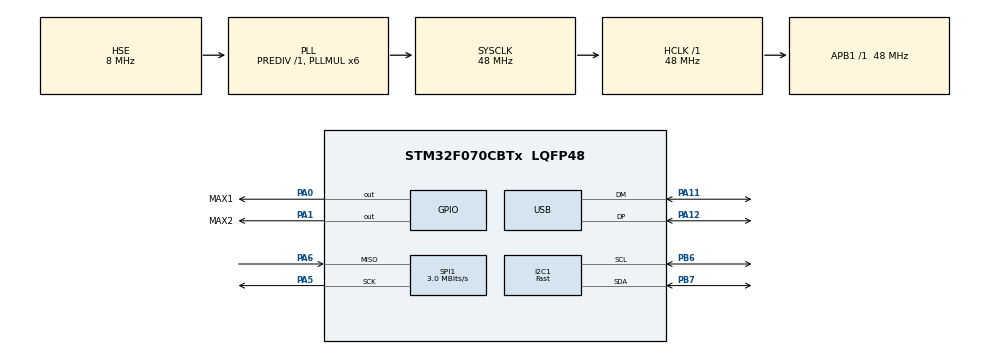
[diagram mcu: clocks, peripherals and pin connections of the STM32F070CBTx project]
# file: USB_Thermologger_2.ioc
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ADC.EnableAnalogWatchDog=false
I2C1.I2C_Speed_Mode=I2C_Fast
I2C1.Timing=0x0000020B
Mcu.Family=STM32F0
Mcu.Name=STM32F070CBTx
Mcu.Package=LQFP48
NVIC.RTC_IRQn=true\:0\:0\:false\:false\:true\:true\:true\:true
NVIC.USB_IRQn=true\:0\:0\:false\:false\:true\:false\:true\:true
PA0.GPIO_Label=MAX1
PA0.Signal=GPIO_Output
PA1.GPIO_Label=MAX2
PA1.Signal=GPIO_Output
PA11.Mode=Device
PA11.Signal=USB_DM
PA12.Mode=Device
PA12.Signal=USB_DP
PA13.Mode=Serial_Wire
PA13.Signal=SYS_SWDIO
PA14.Mode=Serial_Wire
PA14.Signal=SYS_SWCLK
PA5.Mode=RX_Only_Simplex_Unidirect_Master
PA5.Signal=SPI1_SCK
PA6.Mode=RX_Only_Simplex_Unidirect_Master
PA6.Signal=SPI1_MISO
PB6.GPIO_Pu=GPIO_PULLUP
PB6.Mode=I2C
PB6.Signal=I2C1_SCL
PB7.GPIO_Pu=GPIO_PULLUP
PB7.Mode=I2C
PB7.Signal=I2C1_SDA
PC14-OSC32_IN.Mode=LSE-External-Oscillator
PC14-OSC32_IN.Signal=RCC_OSC32_IN
PC15-OSC32_OUT.Mode=LSE-External-Oscillator
PC15-OSC32_OUT.Signal=RCC_OSC32_OUT
PF0-OSC_IN.Mode=HSE-External-Oscillator
PF0-OSC_IN.Signal=RCC_OSC_IN
PF1-OSC_OUT.Mode=HSE-External-Oscillator
PF1-OSC_OUT.Signal=RCC_OSC_OUT
ProjectManager.HeapSize=0x200
ProjectManager.StackSize=0x400
ProjectManager.TargetToolchain=STM32CubeIDE
RCC.AHBFreq_Value=48000000
RCC.APB1Freq_Value=48000000
RCC.APB1TimFreq_Value=48000000
RCC.HCLKFreq_Value=48000000
RCC.PLLMUL=RCC_PLL_MUL6
RCC.RTCClockSelection=RCC_RTCCLKSOURCE_LSE
RCC.SYSCLKFreq_VALUE=48000000
RCC.SYSCLKSource=RCC_SYSCLKSOURCE_PLLCLK
RTC.Alarm-Alarm\ A=RTC_ALARM_A
RTC.AlarmMaskDateWeekDay-Alarm\ A=RTC_ALARMMASK_DATEWEEKDAY
RTC.AlarmMaskHours-Alarm\ A=RTC_ALARMMASK_HOURS
RTC.AlarmMaskMinutes-Alarm\ A=RTC_ALARMMASK_MINUTES
RTC.AlarmMaskSeconds-Alarm\ A=RTC_ALARMMASK_SECONDS
RTC.Seconds_A-Alarm\ A=10
RTC.Year=20
SPI1.BaudRatePrescaler=SPI_BAUDRATEPRESCALER_16
SPI1.CalculateBaudRate=3.0 MBits/s
SPI1.DataSize=SPI_DATASIZE_8BIT
SPI1.Direction=SPI_DIRECTION_2LINES_RXONLY
SPI1.Mode=SPI_MODE_MASTER
SPI1.VirtualType=VM_MASTER
USB_DEVICE.APP_RX_DATA_SIZE=500
USB_DEVICE.APP_TX_DATA_SIZE=500
USB_DEVICE.CLASS_NAME_FS=CDC
USB_DEVICE.PID_CDC_FS=21252
USB_DEVICE.VID=4617
USB_DEVICE.VirtualMode=Cdc
USB_DEVICE.VirtualModeFS=Cdc_FS
VP_ADC_TempSens_Input.Mode=IN-TempSens
VP_RTC_VS_RTC_Activate.Mode=RTC_Enabled
VP_RTC_VS_RTC_Alarm_A_Intern.Mode=Alarm A
VP_RTC_VS_RTC_Calendar.Mode=RTC_Calendar
VP_USB_DEVICE_VS_USB_DEVICE_CDC_FS.Mode=CDC_FS
board=custom

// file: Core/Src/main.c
/* USER CODE BEGIN Header */
/**
  ******************************************************************************
  * @file           : main.c
  * @brief          : Main program body
  ******************************************************************************
  * @attention
  *
  * <h2><center>&copy; Copyright (c) 2020 STMicroelectronics.
  * All rights reserved.</center></h2>
  *
  * This software component is licensed by ST under BSD 3-Clause license,
  * the "License"; You may not use this file except in compliance with the
  * License. You may obtain a copy of the License at:
  *                        opensource.org/licenses/BSD-3-Clause
  *
  ******************************************************************************
  */
/* USER CODE END Header */

#include "main.h"
#include "usb_device.h"

/* USER CODE BEGIN Includes */
#include "usbd_cdc_if.h"

/* USER CODE END Includes */

/* USER CODE BEGIN PD */
#define FW_MANUFACTURER  "Klingler Engineering"
#define FW_MODEL         "TC2"
#define FW_VERSION       "1.0.0"
#define NUM_CHANNELS     2
/* USER CODE END PD */

ADC_HandleTypeDef hadc;

I2C_HandleTypeDef hi2c1;

RTC_HandleTypeDef hrtc;

SPI_HandleTypeDef hspi1;

/* USER CODE BEGIN PV */
uint8_t switchToBootloader __attribute__ ((section (".noinit")));
volatile uint8_t send_usb = 0;
volatile uint32_t interval = 1, int_reload = 1;
uint8_t send_idn = 0;
uint8_t send_channels = 0;
char serial_number[13];
extern USBD_HandleTypeDef hUsbDeviceFS;
static const uint16_t tc_cs_pins[NUM_CHANNELS] = { MAX1_Pin, MAX2_Pin };
/* USER CODE END PV */

void SystemClock_Config(void);
static void MX_GPIO_Init(void);
static void MX_ADC_Init(void);
static void MX_I2C1_Init(void);
static void MX_RTC_Init(void);
static void MX_SPI1_Init(void);
/* USER CODE BEGIN PFP */
static int USB_TxIdle(void);
void USB_TriggerBootloader(void);
void USB_BootloaderInit(void);
static int MAX31855_Read(uint16_t pin, double *temp);/* USER CODE END PFP */
/* USER CODE END PFP */

int main(void)
{
  /* USER CODE BEGIN 1 */
  if(switchToBootloader == 0x11)
	  USB_BootloaderInit();

  /* USER CODE END 1 */

  /* MCU Configuration--------------------------------------------------------*/

  /* Reset of all peripherals, Initializes the Flash interface and the Systick. */
  HAL_Init();

  /* Configure the system clock */
  SystemClock_Config();

  /* Initialize all configured peripherals */
  MX_GPIO_Init();
  MX_ADC_Init();
  MX_I2C1_Init();
  MX_RTC_Init();
  MX_SPI1_Init();
  MX_USB_DEVICE_Init();
  /* USER CODE BEGIN 2 */

  uint32_t length = 0;

  HAL_GPIO_WritePin(GPIOA, MAX1_Pin, 1);
  HAL_GPIO_WritePin(GPIOA, MAX2_Pin, 1);

  char buffer[96];
  uint8_t usbrx[64];

  uint32_t id1 = *(uint32_t *)UID_BASE;
  uint32_t id2 = *(uint32_t *)(UID_BASE + 4);
  uint32_t id3 = *(uint32_t *)(UID_BASE + 8);
  snprintf(serial_number, sizeof serial_number, "%08lX%04lX", id1 + id3, id2 >> 16);

  /* USER CODE END 2 */

  /* Infinite loop */
  while (1)
  {

    /* USER CODE BEGIN 3 */

	  if (USB_TxIdle())
	  {
	  	if (send_idn)
	  	{
	  		int n = snprintf(buffer, sizeof buffer, "%s,%s,%s,%s\r\n",
	  		                 FW_MANUFACTURER, FW_MODEL, serial_number, FW_VERSION);
	  		CDC_Transmit_FS((uint8_t *)buffer, n);
	  		send_idn = 0;
	  	}
	  	else if (send_channels)
	  	{
	  		int n = snprintf(buffer, sizeof buffer, "%d\r\n", NUM_CHANNELS);
	  		CDC_Transmit_FS((uint8_t *)buffer, n);
	  		send_channels = 0;
	  	}
	  	else if (send_usb)
	  	{
	  		int n = 0;
	  		for (int ch = 0; ch < NUM_CHANNELS; ch++)
	  		{
	  			double t;
	  			if (ch > 0)
	  				n += snprintf(buffer + n, sizeof buffer - n, ",");
	  			if (MAX31855_Read(tc_cs_pins[ch], &t))
	  				n += snprintf(buffer + n, sizeof buffer - n, "%.2f", t);
	  			else
	  				n += snprintf(buffer + n, sizeof buffer - n, "-");
	  		}
	  		n += snprintf(buffer + n, sizeof buffer - n, "\r\n");
	  		CDC_Transmit_FS((uint8_t *)buffer, n);
	  		send_usb = 0;
	  	}
	  }

	  if (VCP_retrieveInputData(usbrx,&length)!=0)
  	  {
		  if((length >= 1) && (usbrx[0] != 0))
		  {
			  switch (usbrx[0])
			  {
			  	case 'X':
			  		if ((usbrx[1] == '1') && (usbrx[2] == '7') && (usbrx[3] == '0') && (usbrx[4] == '4'))
			  			USB_TriggerBootloader();
			  		break;

			  	case '?':
			  		send_usb = 1;
			  		break;

			  	case '*':
			  		if ((length >= 5) && (strncmp(usbrx, "*IDN?", 5) == 0))
			  			send_idn = 1;
			  		break;

			  	case 'C':
			  		if ((length >= 2) && (usbrx[1] == '?'))
			  			send_channels = 1;
			  		break;
			  }
		  }
  	  }
  }
  /* USER CODE END 3 */
}

void SystemClock_Config(void)
{
  RCC_OscInitTypeDef RCC_OscInitStruct = {0};
  RCC_ClkInitTypeDef RCC_ClkInitStruct = {0};
  RCC_PeriphCLKInitTypeDef PeriphClkInit = {0};

  /** Configure LSE Drive Capability
  */
  HAL_PWR_EnableBkUpAccess();
  __HAL_RCC_LSEDRIVE_CONFIG(RCC_LSEDRIVE_HIGH);
  /** Initializes the CPU, AHB and APB busses clocks
  */
  RCC_OscInitStruct.OscillatorType = RCC_OSCILLATORTYPE_HSI|RCC_OSCILLATORTYPE_HSI14
                              |RCC_OSCILLATORTYPE_HSE|RCC_OSCILLATORTYPE_LSE;
  RCC_OscInitStruct.HSEState = RCC_HSE_ON;
  RCC_OscInitStruct.LSEState = RCC_LSE_ON;
  RCC_OscInitStruct.HSIState = RCC_HSI_ON;
  RCC_OscInitStruct.HSI14State = RCC_HSI14_ON;
  RCC_OscInitStruct.HSICalibrationValue = RCC_HSICALIBRATION_DEFAULT;
  RCC_OscInitStruct.HSI14CalibrationValue = 16;
  RCC_OscInitStruct.PLL.PLLState = RCC_PLL_ON;
  RCC_OscInitStruct.PLL.PLLSource = RCC_PLLSOURCE_HSE;
  RCC_OscInitStruct.PLL.PLLMUL = RCC_PLL_MUL6;
  RCC_OscInitStruct.PLL.PREDIV = RCC_PREDIV_DIV1;
  if (HAL_RCC_OscConfig(&RCC_OscInitStruct) != HAL_OK)
  {
    Error_Handler();
  }
  /** Initializes the CPU, AHB and APB busses clocks
  */
  RCC_ClkInitStruct.ClockType = RCC_CLOCKTYPE_HCLK|RCC_CLOCKTYPE_SYSCLK
                              |RCC_CLOCKTYPE_PCLK1;
  RCC_ClkInitStruct.SYSCLKSource = RCC_SYSCLKSOURCE_PLLCLK;
  RCC_ClkInitStruct.AHBCLKDivider = RCC_SYSCLK_DIV1;
  RCC_ClkInitStruct.APB1CLKDivider = RCC_HCLK_DIV1;

  if (HAL_RCC_ClockConfig(&RCC_ClkInitStruct, FLASH_LATENCY_1) != HAL_OK)
  {
    Error_Handler();
  }
  PeriphClkInit.PeriphClockSelection = RCC_PERIPHCLK_USB|RCC_PERIPHCLK_I2C1
                              |RCC_PERIPHCLK_RTC;
  PeriphClkInit.I2c1ClockSelection = RCC_I2C1CLKSOURCE_HSI;
  PeriphClkInit.RTCClockSelection = RCC_RTCCLKSOURCE_LSE;
  PeriphClkInit.UsbClockSelection = RCC_USBCLKSOURCE_PLL;

  if (HAL_RCCEx_PeriphCLKConfig(&PeriphClkInit) != HAL_OK)
  {
    Error_Handler();
  }
}

static void MX_ADC_Init(void)
{

  ADC_ChannelConfTypeDef sConfig = {0};

  /** Configure the global features of the ADC (Clock, Resolution, Data Alignment and number of conversion)
  */
  hadc.Instance = ADC1;
  hadc.Init.ClockPrescaler = ADC_CLOCK_ASYNC_DIV1;
  hadc.Init.Resolution = ADC_RESOLUTION_12B;
  hadc.Init.DataAlign = ADC_DATAALIGN_RIGHT;
  hadc.Init.ScanConvMode = ADC_SCAN_DIRECTION_FORWARD;
  hadc.Init.EOCSelection = ADC_EOC_SINGLE_CONV;
  hadc.Init.LowPowerAutoWait = DISABLE;
  hadc.Init.LowPowerAutoPowerOff = DISABLE;
  hadc.Init.ContinuousConvMode = DISABLE;
  hadc.Init.DiscontinuousConvMode = DISABLE;
  hadc.Init.ExternalTrigConv = ADC_SOFTWARE_START;
  hadc.Init.ExternalTrigConvEdge = ADC_EXTERNALTRIGCONVEDGE_NONE;
  hadc.Init.DMAContinuousRequests = DISABLE;
  hadc.Init.Overrun = ADC_OVR_DATA_PRESERVED;
  if (HAL_ADC_Init(&hadc) != HAL_OK)
  {
    Error_Handler();
  }
  /** Configure for the selected ADC regular channel to be converted.
  */
  sConfig.Channel = ADC_CHANNEL_TEMPSENSOR;
  sConfig.Rank = ADC_RANK_CHANNEL_NUMBER;
  sConfig.SamplingTime = ADC_SAMPLETIME_1CYCLE_5;
  if (HAL_ADC_ConfigChannel(&hadc, &sConfig) != HAL_OK)
  {
    Error_Handler();
  }

}

static void MX_I2C1_Init(void)
{

  hi2c1.Instance = I2C1;
  hi2c1.Init.Timing = 0x0000020B;
  hi2c1.Init.OwnAddress1 = 0;
  hi2c1.Init.AddressingMode = I2C_ADDRESSINGMODE_7BIT;
  hi2c1.Init.DualAddressMode = I2C_DUALADDRESS_DISABLE;
  hi2c1.Init.OwnAddress2 = 0;
  hi2c1.Init.OwnAddress2Masks = I2C_OA2_NOMASK;
  hi2c1.Init.GeneralCallMode = I2C_GENERALCALL_DISABLE;
  hi2c1.Init.NoStretchMode = I2C_NOSTRETCH_DISABLE;
  if (HAL_I2C_Init(&hi2c1) != HAL_OK)
  {
    Error_Handler();
  }
  /** Configure Analogue filter
  */
  if (HAL_I2CEx_ConfigAnalogFilter(&hi2c1, I2C_ANALOGFILTER_ENABLE) != HAL_OK)
  {
    Error_Handler();
  }
  /** Configure Digital filter
  */
  if (HAL_I2CEx_ConfigDigitalFilter(&hi2c1, 0) != HAL_OK)
  {
    Error_Handler();
  }

}

static void MX_RTC_Init(void)
{

  RTC_TimeTypeDef sTime = {0};
  RTC_DateTypeDef sDate = {0};
  RTC_AlarmTypeDef sAlarm = {0};

  /** Initialize RTC Only
  */
  hrtc.Instance = RTC;
  hrtc.Init.HourFormat = RTC_HOURFORMAT_24;
  hrtc.Init.AsynchPrediv = 127;
  hrtc.Init.SynchPrediv = 255;
  hrtc.Init.OutPut = RTC_OUTPUT_DISABLE;
  hrtc.Init.OutPutPolarity = RTC_OUTPUT_POLARITY_HIGH;
  hrtc.Init.OutPutType = RTC_OUTPUT_TYPE_OPENDRAIN;
  if (HAL_RTC_Init(&hrtc) != HAL_OK)
  {
    Error_Handler();
  }

  /** Initialize RTC and set the Time and Date
  */
  sTime.Hours = 0x0;
  sTime.Minutes = 0x0;
  sTime.Seconds = 0x0;
  sTime.DayLightSaving = RTC_DAYLIGHTSAVING_NONE;
  sTime.StoreOperation = RTC_STOREOPERATION_RESET;
  if (HAL_RTC_SetTime(&hrtc, &sTime, RTC_FORMAT_BCD) != HAL_OK)
  {
    Error_Handler();
  }
  sDate.WeekDay = RTC_WEEKDAY_MONDAY;
  sDate.Month = RTC_MONTH_JANUARY;
  sDate.Date = 0x1;
  sDate.Year = 0x20;

  if (HAL_RTC_SetDate(&hrtc, &sDate, RTC_FORMAT_BCD) != HAL_OK)
  {
    Error_Handler();
  }
  /** Enable the Alarm A
  */
  sAlarm.AlarmTime.Hours = 0x0;
  sAlarm.AlarmTime.Minutes = 0x0;
  sAlarm.AlarmTime.Seconds = 0x10;
  sAlarm.AlarmTime.SubSeconds = 0x0;
  sAlarm.AlarmTime.DayLightSaving = RTC_DAYLIGHTSAVING_NONE;
  sAlarm.AlarmTime.StoreOperation = RTC_STOREOPERATION_RESET;
  sAlarm.AlarmMask = RTC_ALARMMASK_ALL;
  sAlarm.AlarmSubSecondMask = RTC_ALARMSUBSECONDMASK_ALL;
  sAlarm.AlarmDateWeekDaySel = RTC_ALARMDATEWEEKDAYSEL_DATE;
  sAlarm.AlarmDateWeekDay = 0x1;
  sAlarm.Alarm = RTC_ALARM_A;
  if (HAL_RTC_SetAlarm_IT(&hrtc, &sAlarm, RTC_FORMAT_BCD) != HAL_OK)
  {
    Error_Handler();
  }

}

static void MX_SPI1_Init(void)
{

  /* SPI1 parameter configuration*/
  hspi1.Instance = SPI1;
  hspi1.Init.Mode = SPI_MODE_MASTER;
  hspi1.Init.Direction = SPI_DIRECTION_2LINES_RXONLY;
  hspi1.Init.DataSize = SPI_DATASIZE_8BIT;
  hspi1.Init.CLKPolarity = SPI_POLARITY_LOW;
  hspi1.Init.CLKPhase = SPI_PHASE_1EDGE;
  hspi1.Init.NSS = SPI_NSS_SOFT;
  hspi1.Init.BaudRatePrescaler = SPI_BAUDRATEPRESCALER_16;
  hspi1.Init.FirstBit = SPI_FIRSTBIT_MSB;
  hspi1.Init.TIMode = SPI_TIMODE_DISABLE;
  hspi1.Init.CRCCalculation = SPI_CRCCALCULATION_DISABLE;
  hspi1.Init.CRCPolynomial = 7;
  hspi1.Init.CRCLength = SPI_CRC_LENGTH_DATASIZE;
  hspi1.Init.NSSPMode = SPI_NSS_PULSE_ENABLE;
  if (HAL_SPI_Init(&hspi1) != HAL_OK)
  {
    Error_Handler();
  }

}

static void MX_GPIO_Init(void)
{
  GPIO_InitTypeDef GPIO_InitStruct = {0};

  /* GPIO Ports Clock Enable */
  __HAL_RCC_GPIOC_CLK_ENABLE();
  __HAL_RCC_GPIOF_CLK_ENABLE();
  __HAL_RCC_GPIOA_CLK_ENABLE();
  __HAL_RCC_GPIOB_CLK_ENABLE();

  /*Configure GPIO pin Output Level */
  HAL_GPIO_WritePin(GPIOA, MAX1_Pin|MAX2_Pin, GPIO_PIN_RESET);

  /*Configure GPIO pins : MAX1_Pin MAX2_Pin */
  GPIO_InitStruct.Pin = MAX1_Pin|MAX2_Pin;
  GPIO_InitStruct.Mode = GPIO_MODE_OUTPUT_PP;
  GPIO_InitStruct.Pull = GPIO_NOPULL;
  GPIO_InitStruct.Speed = GPIO_SPEED_FREQ_LOW;
  HAL_GPIO_Init(GPIOA, &GPIO_InitStruct);

}

/* USER CODE BEGIN 4 */
static int USB_TxIdle(void)
{
	USBD_CDC_HandleTypeDef *hcdc = (USBD_CDC_HandleTypeDef *)hUsbDeviceFS.pClassData;
	return (hcdc != NULL) && (hcdc->TxState == 0);
}

static int MAX31855_Read(uint16_t pin, double *temp)
{
	uint8_t d[4];
	HAL_GPIO_WritePin(GPIOA, pin, GPIO_PIN_RESET);
	HAL_StatusTypeDef st = HAL_SPI_Receive(&hspi1, d, 4, 100);
	HAL_GPIO_WritePin(GPIOA, pin, GPIO_PIN_SET);

	if (st != HAL_OK || (d[1] & 0x01))	/* bit 16: fault (open, short GND/VCC) */
		return 0;

	int16_t raw = (int16_t)((d[0] << 8) | d[1]) >> 2;	/* 14-bit signed, 0.25 °C/LSB */
	*temp = raw * 0.25;
	return 1;
}

void HAL_RTC_AlarmAEventCallback(RTC_HandleTypeDef *hrtc)
{
/*
	interval--;
	if(interval == 0)
	{
		interval = int_reload;
		send_usb = 1;
	}
*/
}

void (*SysMemBootJump) (void);

void USB_BootloaderInit()
{
	switchToBootloader = 0x00;	//Reset the variable to prevent being stuck in the bootloader (since a device reset wont change it)
	volatile uint32_t addr = 0x1FFFC800;	//The STM32F070RB system memory start address
	SysMemBootJump = (void (*)(void)) (*((uint32_t *)(addr + 4)));	//Point the PC to the System Memory reset vector

	HAL_RCC_DeInit();		//Reset the system clock
	SysTick->CTRL = 0;		//Reset the  SysTick Timer
	SysTick->LOAD = 0;
	SysTick->VAL  = 0;

	__set_MSP(*(uint32_t *)addr);	//Set the Main Stack Pointer

	SysMemBootJump();				//Run our virtual function defined above that sets the PC

	while(1);
}

void USB_TriggerBootloader()
{
	switchToBootloader = 0x11;			//Set the noinit variable to be read by startup code
	NVIC_SystemReset();					//Reset the system
}

/* USER CODE END 4 */

void Error_Handler(void)
{
}

/************************ (C) COPYRIGHT STMicroelectronics *****END OF FILE****/
